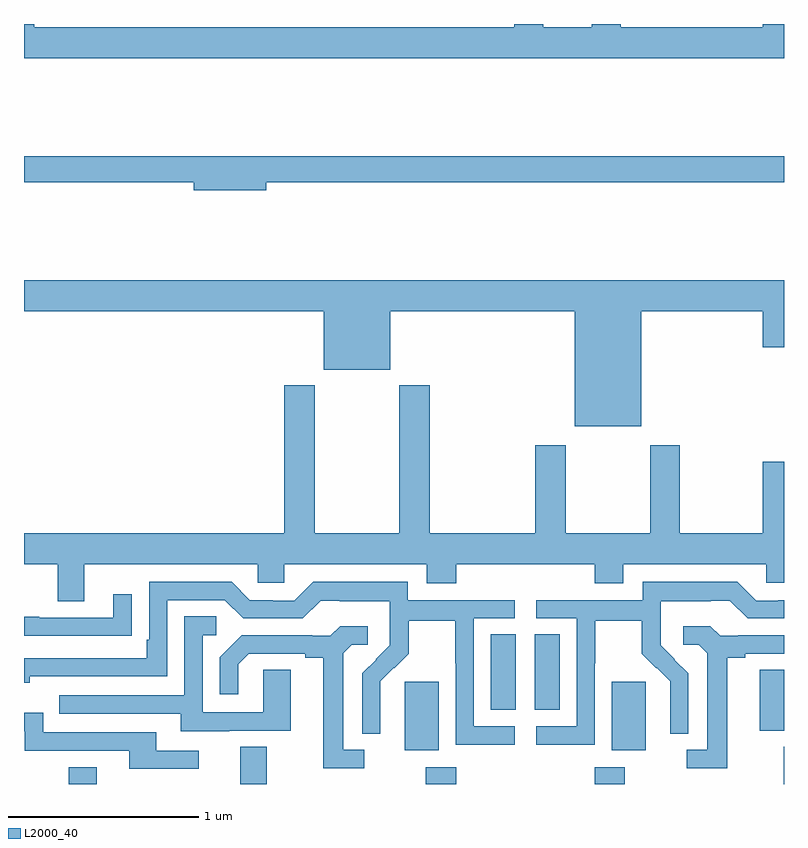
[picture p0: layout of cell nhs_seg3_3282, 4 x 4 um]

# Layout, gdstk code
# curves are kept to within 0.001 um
import gdstk
lib = gdstk.Library(unit=1e-6, precision=1e-09)
def R(c, l, rs):  # rectangles x0, y0, x1, y1
    for r in rs: c.add(gdstk.rectangle(r[:2], r[2:], *l))
def P(c, l, *ps):  # polygons
    for p in ps: c.add(gdstk.Polygon(p, *l))
L2000_40 = (2000, 40)

nhs_seg3_3282 = lib.new_cell('nhs_seg3_3282')
R(nhs_seg3_3282, L2000_40, [(281.236,726.4,281.383,726.487), (282.137,726.4,282.277,726.596), (283.114,726.4,283.274,726.487), (284.003,726.4,284.163,726.487), (284.999,726.4,285,726.596), (283.004,726.578,283.183,726.939), (284.093,726.578,284.272,726.939), (284.873,726.681,285,727.001), (283.457,726.79,283.588,727.187), (283.688,726.79,283.819,727.187)])
P(nhs_seg3_3282, L2000_40, [(285,730.4),(284.888,730.4),(284.888,730.384),(284.141,730.384),(284.141,730.4),(283.988,730.4),(283.988,730.384),(283.732,730.384),(283.732,730.4),(283.58,730.4),(283.58,730.384),(281.054,730.384),(281.054,730.4),(281,730.4),(281,730.22),(285,730.22)],
  [(282.274,729.568),(285,729.568),(285,729.704),(281,729.704),(281,729.568),(281.894,729.568),(281.894,729.526),(282.274,729.526)],
  [(284.248,728.888),(284.888,728.888),(284.888,728.7),(285,728.7),(285,729.052),(281,729.052),(281,728.888),(282.578,728.888),(282.578,728.579),(282.928,728.579),(282.928,728.888),(283.898,728.888),(283.898,728.282),(284.248,728.282)],
  [(281.317,727.556),(282.231,727.556),(282.231,727.458),(282.369,727.458),(282.369,727.556),(283.121,727.556),(283.121,727.457),(283.274,727.457),(283.274,727.556),(284.003,727.556),(284.003,727.457),(284.155,727.457),(284.155,727.556),(284.907,727.556),(284.907,727.458),(285,727.458),(285,728.095),(284.888,728.095),(284.888,727.72),(284.451,727.72),(284.451,728.182),(284.296,728.182),(284.296,727.72),(283.851,727.72),(283.851,728.182),(283.691,728.182),(283.691,727.72),(283.136,727.72),(283.136,728.5),(282.976,728.5),(282.976,727.72),(282.531,727.72),(282.531,728.5),(282.371,728.5),(282.371,727.72),(281,727.72),(281,727.556),(281.177,727.556),(281.177,727.362),(281.317,727.362)],
  [(283.582,726.705),(283.368,726.705),(283.368,727.272),(283.582,727.272),(283.582,727.368),(283.02,727.368),(283.02,727.465),(282.523,727.465),(282.423,727.365),(282.308,727.365),(282.308,727.368),(282.189,727.368),(282.093,727.464),(281.658,727.464),(281.658,727.159),(281.645,727.159),(281.645,727.062),(281,727.062),(281,726.932),(281.03,726.932),(281.03,726.966),(281.754,726.966),(281.754,727.368),(282.057,727.368),(282.153,727.272),(282.468,727.272),(282.561,727.365),(282.661,727.365),(282.661,727.361),(282.924,727.361),(282.924,727.227),(282.926,727.227),(282.926,727.13),(282.78,726.982),(282.78,726.664),(282.876,726.664),(282.875,726.941),(282.945,727.011),(282.948,727.008),(283.025,727.085),(283.025,727.26),(283.27,727.26),(283.27,727.036),(283.272,727.036),(283.272,726.607),(283.582,726.607)],
  [(284.004,727.036),(284.007,727.036),(284.007,727.26),(284.251,727.26),(284.251,727.085),(284.328,727.008),(284.331,727.011),(284.402,726.941),(284.402,726.818),(284.4,726.818),(284.4,726.664),(284.496,726.664),(284.496,726.982),(284.35,727.13),(284.35,727.227),(284.352,727.227),(284.352,727.361),(284.615,727.361),(284.615,727.365),(284.715,727.365),(284.808,727.272),(285,727.272),(285,727.368),(284.969,727.368),(284.969,727.365),(284.853,727.365),(284.753,727.465),(284.256,727.465),(284.256,727.368),(283.695,727.368),(283.695,727.272),(283.908,727.272),(283.908,726.705),(283.695,726.705),(283.695,726.607),(284.004,726.607)],
  [(281.465,727.18),(281.567,727.18),(281.567,727.399),(281.471,727.399),(281.471,727.275),(281.081,727.275),(281.081,727.28),(281,727.28),(281,727.179),(281.465,727.179)],
  [(282.079,726.681),(282.403,726.681),(282.403,727.001),(282.258,727.001),(282.258,726.777),(281.94,726.777),(281.94,727.182),(282.013,727.182),(282.013,727.283),(281.844,727.283),(281.844,726.867),(281.185,726.867),(281.185,726.771),(281.825,726.771),(281.825,726.677),(282.079,726.677)],
  [(282.79,726.579),(282.679,726.579),(282.679,727.087),(282.726,727.134),(282.808,727.134),(282.808,727.231),(282.664,727.231),(282.612,727.179),(282.518,727.179),(282.518,727.182),(282.146,727.182),(282.03,727.066),(282.03,726.873),(282.127,726.873),(282.127,727.029),(282.184,727.086),(282.479,727.086),(282.479,727.064),(282.575,727.064),(282.575,726.483),(282.79,726.483)],
  [(284.701,727.064),(284.797,727.064),(284.797,727.086),(285,727.086),(285,727.182),(284.758,727.182),(284.758,727.179),(284.664,727.179),(284.612,727.231),(284.469,727.231),(284.469,727.134),(284.55,727.134),(284.597,727.087),(284.597,726.579),(284.487,726.579),(284.487,726.483),(284.701,726.483)],
  [(281.92,726.576),(281.695,726.576),(281.695,726.672),(281.1,726.672),(281.1,726.775),(281,726.775),(281,726.678),(281.004,726.678),(281.004,726.576),(281.555,726.576),(281.555,726.48),(281.92,726.48)])

lib.write_gds('nhs_seg3_3282.gds')
